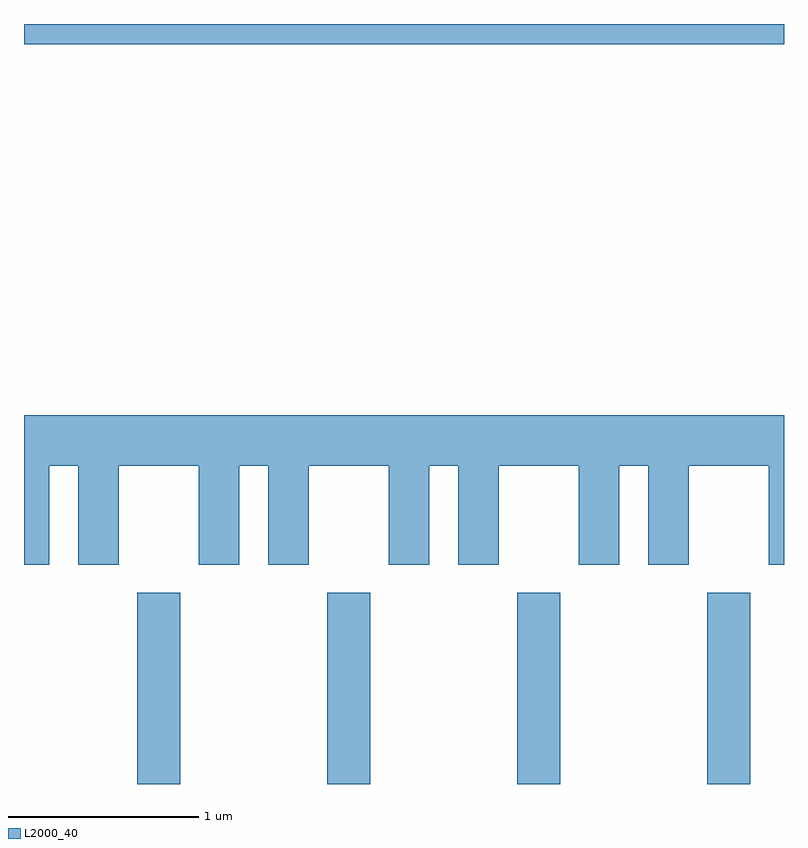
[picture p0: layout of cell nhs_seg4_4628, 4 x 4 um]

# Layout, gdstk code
import gdstk
lib = gdstk.Library(unit=1e-6, precision=1e-09)
def R(c, l, rs):  # rectangles x0, y0, x1, y1
    for r in rs: c.add(gdstk.rectangle(r[:2], r[2:], *l))
def A(c, l, x, y, w, h, nx, ny, dx, dy):  # array of equal rectangles
    R(c, l, [(x+i*dx, y+j*dy, x+i*dx+w, y+j*dy+h) for i in range(nx) for j in range(ny)])
def P(c, l, *ps):  # polygons
    for p in ps: c.add(gdstk.Polygon(p, *l))
L2000_40 = (2000, 40)

nhs_seg4_4628 = lib.new_cell('nhs_seg4_4628')
A(nhs_seg4_4628, L2000_40, 322.206, 1261.982, 0.228, 1.007, 4, 1, 1, 0)
R(nhs_seg4_4628, L2000_40, [(321.611,1265.876,325.611,1265.982)])
P(nhs_seg4_4628, L2000_40, [(321.611,1263.136),(321.744,1263.136),(321.744,1263.656),(321.896,1263.656),(321.896,1263.136),(322.109,1263.136),(322.109,1263.656),(322.531,1263.656),(322.531,1263.136),(322.744,1263.136),(322.744,1263.656),(322.896,1263.656),(322.896,1263.136),(323.109,1263.136),(323.109,1263.656),(323.531,1263.656),(323.531,1263.136),(323.744,1263.136),(323.744,1263.656),(323.896,1263.656),(323.896,1263.136),(324.109,1263.136),(324.109,1263.656),(324.531,1263.656),(324.531,1263.136),(324.744,1263.136),(324.744,1263.656),(324.896,1263.656),(324.896,1263.136),(325.109,1263.136),(325.109,1263.656),(325.531,1263.656),(325.531,1263.136),(325.611,1263.136),(325.611,1263.924),(321.611,1263.924)])

lib.write_gds('nhs_seg4_4628.gds')
